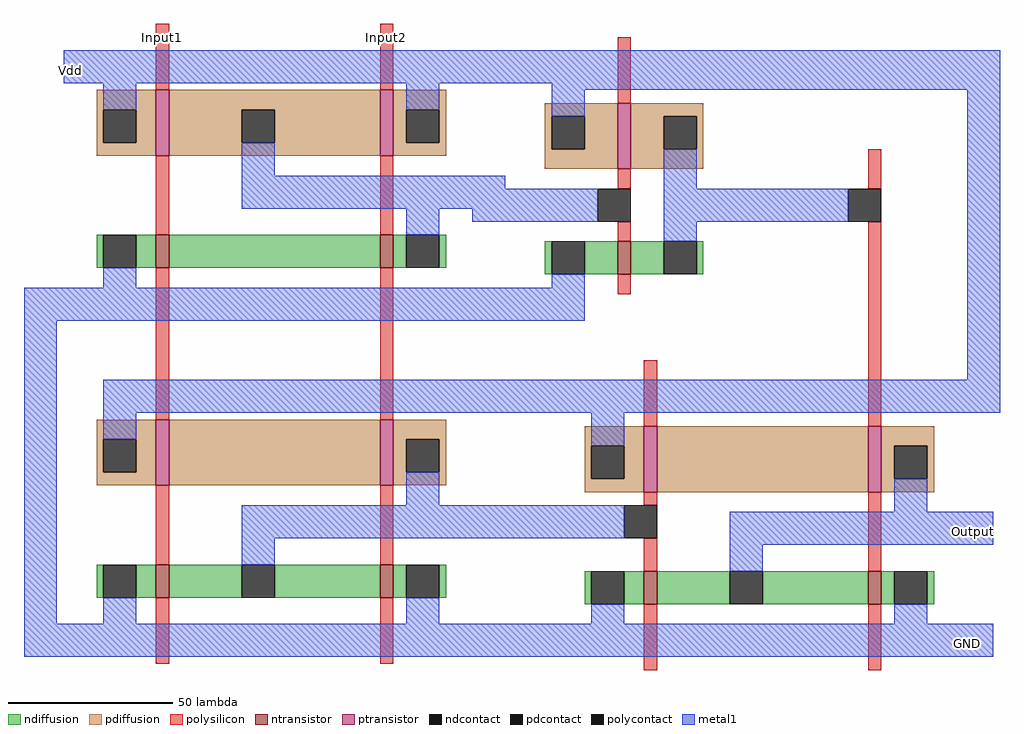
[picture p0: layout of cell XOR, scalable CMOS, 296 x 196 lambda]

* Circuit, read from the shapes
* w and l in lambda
.subckt XOR GND Input1 Input2 Output Vdd
M1 n1 Input1 GND VSUBS nfet w=10 l=4
M2 n2 Input1 GND VSUBS nfet w=10 l=4
M3 GND Input2 n1 VSUBS nfet w=10 l=4
M4 n3 Input2 n2 VSUBS nfet w=10 l=4
M5 n4 n3 GND VSUBS nfet w=10 l=4
M6 Output n1 GND VSUBS nfet w=10 l=4
M7 GND n4 Output VSUBS nfet w=10 l=4
M8 n5 Input1 Vdd NWELL pfet w=20 l=4
M9 n3 Input1 Vdd NWELL pfet w=20 l=4
M10 n1 Input2 n5 NWELL pfet w=20 l=4
M11 Vdd Input2 n3 NWELL pfet w=20 l=4
M12 n4 n3 Vdd NWELL pfet w=20 l=4
M13 n6 n1 Vdd NWELL pfet w=20 l=4
M14 Output n4 n6 NWELL pfet w=20 l=4
.ends

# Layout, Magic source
magic
tech scmos
<< polysilicon >>
rect -48 114 -44 134
rect 20 114 24 134
rect 92 110 96 130
rect -48 70 -44 94
rect 20 70 24 94
rect 92 84 96 90
rect 168 84 172 96
rect 92 68 96 74
rect -48 14 -44 60
rect 20 14 24 60
rect 92 52 96 58
rect 100 12 104 32
rect 168 12 172 74
rect -48 -30 -44 -6
rect 20 -30 24 -6
rect 100 -12 104 -8
rect 100 -32 104 -22
rect 168 -32 172 -8
rect -48 -60 -44 -40
rect 20 -60 24 -40
rect 100 -62 104 -42
rect 168 -62 172 -42
<< ndiffusion >>
rect -66 60 -64 70
rect -54 60 -48 70
rect -44 60 20 70
rect 24 60 28 70
rect 38 60 40 70
rect 70 58 72 68
rect 82 58 92 68
rect 96 58 106 68
rect 116 58 118 68
rect -66 -40 -64 -30
rect -54 -40 -48 -30
rect -44 -40 -22 -30
rect -12 -40 20 -30
rect 24 -40 28 -30
rect 38 -40 40 -30
rect 82 -42 84 -32
rect 94 -42 100 -32
rect 104 -42 126 -32
rect 136 -42 168 -32
rect 172 -42 176 -32
rect 186 -42 188 -32
<< pdiffusion >>
rect -66 108 -48 114
rect -66 98 -64 108
rect -54 98 -48 108
rect -66 94 -48 98
rect -44 108 20 114
rect -44 98 -22 108
rect -12 98 20 108
rect -44 94 20 98
rect 24 108 40 114
rect 24 98 28 108
rect 38 98 40 108
rect 24 94 40 98
rect 70 106 92 110
rect 70 96 72 106
rect 82 96 92 106
rect 70 90 92 96
rect 96 106 118 110
rect 96 96 106 106
rect 116 96 118 106
rect 96 90 118 96
rect -66 8 -48 14
rect -66 -2 -64 8
rect -54 -2 -48 8
rect -66 -6 -48 -2
rect -44 -6 20 14
rect 24 8 40 14
rect 24 -2 28 8
rect 38 -2 40 8
rect 24 -6 40 -2
rect 82 6 100 12
rect 82 -4 84 6
rect 94 -4 100 6
rect 82 -8 100 -4
rect 104 -8 168 12
rect 172 6 188 12
rect 172 -4 176 6
rect 186 -4 188 6
rect 172 -8 188 -4
<< metal1 >>
rect -76 116 208 126
rect -64 108 -54 116
rect 28 108 38 116
rect 72 114 208 116
rect 72 106 82 114
rect -22 88 -12 98
rect -22 84 58 88
rect 106 84 116 96
rect -22 78 86 84
rect 28 70 38 78
rect 48 74 86 78
rect 106 74 162 84
rect 106 68 116 74
rect -64 54 -54 60
rect 72 54 82 58
rect -88 44 82 54
rect -88 -48 -78 44
rect 198 26 208 114
rect -64 16 208 26
rect -64 8 -54 16
rect 28 -12 38 -2
rect 84 6 94 16
rect -22 -22 94 -12
rect 176 -14 186 -4
rect -22 -30 -12 -22
rect 126 -24 206 -14
rect 126 -32 136 -24
rect -64 -48 -54 -40
rect 28 -48 38 -40
rect 84 -48 94 -42
rect 176 -48 186 -42
rect -88 -58 206 -48
<< ntransistor >>
rect -48 60 -44 70
rect 20 60 24 70
rect 92 58 96 68
rect -48 -40 -44 -30
rect 20 -40 24 -30
rect 100 -42 104 -32
rect 168 -42 172 -32
<< ptransistor >>
rect -48 94 -44 114
rect 20 94 24 114
rect 92 90 96 110
rect -48 -6 -44 14
rect 20 -6 24 14
rect 100 -8 104 12
rect 168 -8 172 12
<< polycontact >>
rect 86 74 96 84
rect 162 74 172 84
rect 94 -22 104 -12
<< ndcontact >>
rect -64 60 -54 70
rect 28 60 38 70
rect 72 58 82 68
rect 106 58 116 68
rect -64 -40 -54 -30
rect -22 -40 -12 -30
rect 28 -40 38 -30
rect 84 -42 94 -32
rect 126 -42 136 -32
rect 176 -42 186 -32
<< pdcontact >>
rect -64 98 -54 108
rect -22 98 -12 108
rect 28 98 38 108
rect 72 96 82 106
rect 106 96 116 106
rect -64 -2 -54 8
rect 28 -2 38 8
rect 84 -4 94 6
rect 176 -4 186 6
<< labels >>
rlabel metal1 -74 120 -74 120 3 Vdd
rlabel metal1 200 -20 200 -20 1 Output
rlabel metal1 198 -54 198 -54 1 GND
rlabel polysilicon 22 130 22 130 5 Input2
rlabel polysilicon -46 130 -46 130 5 Input1
<< end >>
